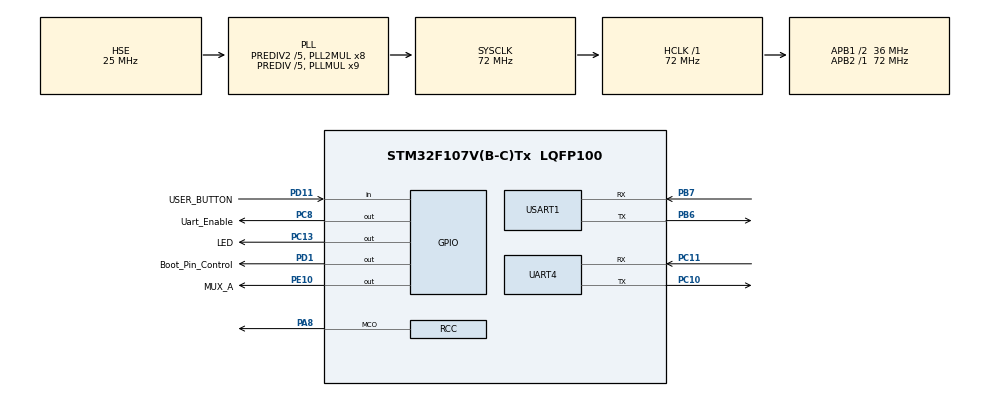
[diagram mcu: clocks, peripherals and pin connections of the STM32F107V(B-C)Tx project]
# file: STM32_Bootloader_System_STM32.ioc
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Mcu.Family=STM32F1
Mcu.Name=STM32F107V(B-C)Tx
Mcu.Package=LQFP100
NVIC.PriorityGroup=NVIC_PRIORITYGROUP_4
NVIC.UART4_IRQn=true\:0\:0\:false\:false\:true\:true\:true\:true
NVIC.USART1_IRQn=true\:0\:0\:false\:false\:true\:true\:true\:true
OSC_IN.Mode=HSE-External-Oscillator
OSC_IN.Signal=RCC_OSC_IN
OSC_OUT.Mode=HSE-External-Oscillator
OSC_OUT.Signal=RCC_OSC_OUT
PA13.Mode=Serial_Wire
PA13.Signal=SYS_JTMS-SWDIO
PA14.Mode=Serial_Wire
PA14.Signal=SYS_JTCK-SWCLK
PA8.GPIO_Speed=GPIO_SPEED_FREQ_MEDIUM
PA8.Mode=Clock-out
PA8.Signal=RCC_MCO
PB6.Mode=Asynchronous
PB6.Signal=USART1_TX
PB7.Mode=Asynchronous
PB7.Signal=USART1_RX
PC10.Mode=Asynchronous
PC10.Signal=UART4_TX
PC11.Mode=Asynchronous
PC11.Signal=UART4_RX
PC13-TAMPER-RTC.GPIO_Label=LED
PC13-TAMPER-RTC.Signal=GPIO_Output
PC8.GPIO_Label=Uart_Enable
PC8.Signal=GPIO_Output
PD1.GPIO_Label=Boot_Pin_Control
PD1.Signal=GPIO_Output
PD11.GPIO_Label=USER_BUTTON
PD11.Signal=GPIO_Input
PE10.GPIO_Label=MUX_A
PE10.Signal=GPIO_Output
ProjectManager.HeapSize=0x200
ProjectManager.StackSize=0x400
ProjectManager.TargetToolchain=STM32CubeIDE
RCC.AHBFreq_Value=72000000
RCC.APB1CLKDivider=RCC_HCLK_DIV2
RCC.APB1Freq_Value=36000000
RCC.APB1TimFreq_Value=72000000
RCC.APB2Freq_Value=72000000
RCC.APB2TimFreq_Value=72000000
RCC.HCLKFreq_Value=72000000
RCC.HSEDivPLL=RCC_HSE_PREDIV_DIV5
RCC.HSE_VALUE=25000000
RCC.PLL3Mul=RCC_PLLI2S_MUL10
RCC.PLLMUL=RCC_PLL_MUL9
RCC.PLLSourceVirtual=RCC_PLLSOURCE_HSE
RCC.Prediv1Source=RCC_PREDIV1_SOURCE_PLL2
RCC.Prediv2=RCC_HSE_PREDIV2_DIV5
RCC.RCC_MCOSource=RCC_MCO1SOURCE_PLL3CLK
RCC.SYSCLKFreq_VALUE=72000000
RCC.SYSCLKSource=RCC_SYSCLKSOURCE_PLLCLK
RCC.USBFreq_Value=48000000
UART4.Parity=PARITY_EVEN
UART4.VirtualMode=Asynchronous
UART4.WordLength=WORDLENGTH_9B
USART1.VirtualMode=VM_ASYNC
board=custom

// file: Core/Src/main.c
/* USER CODE BEGIN Header */
/**
  ******************************************************************************
  * @file           : main.c
  * @brief          : Main program body
  ******************************************************************************
  * @attention
  *
  * Copyright (c) 2024 STMicroelectronics.
  * All rights reserved.
  *
  * This software is licensed under terms that can be found in the LICENSE file
  * in the root directory of this software component.
  * If no LICENSE file comes with this software, it is provided AS-IS.
  *
  ******************************************************************************
  */
/* USER CODE END Header */
#include "main.h"

/* USER CODE BEGIN Includes */
#include "bootloader.h"
#include "stdio.h"
/* USER CODE END Includes */

/* USER CODE BEGIN PD */
#define FLASH_SIZE 256 * 1024
/* USER CODE END PD */

UART_HandleTypeDef huart4;
UART_HandleTypeDef huart1;

/* USER CODE BEGIN PV */
uint8_t RxBuffer[32];
stm32_cmd BootDataCmd;
/* USER CODE END PV */

void SystemClock_Config(void);
static void MX_GPIO_Init(void);
static void MX_UART4_Init(void);
static void MX_USART1_UART_Init(void);
/* USER CODE BEGIN PFP */
void stm32_boot_high(void);
void Boot_Process_Init (void);
/* USER CODE END PFP */

/* USER CODE BEGIN 0 */
int __io_putchar(int ch) {
       HAL_UART_Transmit(&huart1, (uint8_t *)&ch, 1, 100);
       return 0;
}

void stm32_boot_high(void)
{
	HAL_GPIO_WritePin(MUX_A_GPIO_Port, MUX_A_Pin, GPIO_PIN_SET);
	HAL_GPIO_WritePin(Boot_Pin_Control_GPIO_Port, Boot_Pin_Control_Pin, GPIO_PIN_SET);
}
/* USER CODE END 0 */

int main(void)
{

  /* MCU Configuration--------------------------------------------------------*/

  /* Reset of all peripherals, Initializes the Flash interface and the Systick. */
  HAL_Init();

  /* Configure the system clock */
  SystemClock_Config();

  /* Initialize all configured peripherals */
  MX_GPIO_Init();
  MX_UART4_Init();
  MX_USART1_UART_Init();
  /* USER CODE BEGIN 2 */
  if (HAL_GPIO_ReadPin(USER_BUTTON_GPIO_Port, USER_BUTTON_Pin) == GPIO_PIN_SET)
    	{
  	  HAL_GPIO_WritePin(Uart_Enable_GPIO_Port, Uart_Enable_Pin,0);
  	  Boot_Process_Init();
    	}
  /* USER CODE END 2 */

  /* Infinite loop */
  /* USER CODE BEGIN WHILE */
  while (1)
  {
		HAL_GPIO_WritePin(Uart_Enable_GPIO_Port, Uart_Enable_Pin,1);
		HAL_GPIO_TogglePin(LED_GPIO_Port,LED_Pin);
		HAL_Delay(200);
	  /* USER CODE END WHILE */

  }
}

void SystemClock_Config(void)
{
  RCC_OscInitTypeDef RCC_OscInitStruct = {0};
  RCC_ClkInitTypeDef RCC_ClkInitStruct = {0};

  /** Initializes the RCC Oscillators according to the specified parameters
  * in the RCC_OscInitTypeDef structure.
  */
  RCC_OscInitStruct.OscillatorType = RCC_OSCILLATORTYPE_HSE;
  RCC_OscInitStruct.HSEState = RCC_HSE_ON;
  RCC_OscInitStruct.HSEPredivValue = RCC_HSE_PREDIV_DIV5;
  RCC_OscInitStruct.HSIState = RCC_HSI_ON;
  RCC_OscInitStruct.Prediv1Source = RCC_PREDIV1_SOURCE_PLL2;
  RCC_OscInitStruct.PLL.PLLState = RCC_PLL_ON;
  RCC_OscInitStruct.PLL.PLLSource = RCC_PLLSOURCE_HSE;
  RCC_OscInitStruct.PLL.PLLMUL = RCC_PLL_MUL9;
  RCC_OscInitStruct.PLL2.PLL2State = RCC_PLL2_ON;
  RCC_OscInitStruct.PLL2.PLL2MUL = RCC_PLL2_MUL8;
  RCC_OscInitStruct.PLL2.HSEPrediv2Value = RCC_HSE_PREDIV2_DIV5;
  if (HAL_RCC_OscConfig(&RCC_OscInitStruct) != HAL_OK)
  {
    Error_Handler();
  }

  /** Initializes the CPU, AHB and APB buses clocks
  */
  RCC_ClkInitStruct.ClockType = RCC_CLOCKTYPE_HCLK|RCC_CLOCKTYPE_SYSCLK
                              |RCC_CLOCKTYPE_PCLK1|RCC_CLOCKTYPE_PCLK2;
  RCC_ClkInitStruct.SYSCLKSource = RCC_SYSCLKSOURCE_PLLCLK;
  RCC_ClkInitStruct.AHBCLKDivider = RCC_SYSCLK_DIV1;
  RCC_ClkInitStruct.APB1CLKDivider = RCC_HCLK_DIV2;
  RCC_ClkInitStruct.APB2CLKDivider = RCC_HCLK_DIV1;

  if (HAL_RCC_ClockConfig(&RCC_ClkInitStruct, FLASH_LATENCY_2) != HAL_OK)
  {
    Error_Handler();
  }
  HAL_RCC_MCOConfig(RCC_MCO, RCC_MCO1SOURCE_PLL3CLK, RCC_MCODIV_1);

  /** Configure the Systick interrupt time
  */
  __HAL_RCC_HSE_PREDIV2_CONFIG(RCC_HSE_PREDIV2_DIV5);

  /** Configure the Systick interrupt time
  */
  __HAL_RCC_PLLI2S_CONFIG(RCC_PLLI2S_MUL10);

  /** Configure the Systick interrupt time
  */
  __HAL_RCC_PLLI2S_ENABLE();
}

static void MX_UART4_Init(void)
{

  huart4.Instance = UART4;
  huart4.Init.BaudRate = 115200;
  huart4.Init.WordLength = UART_WORDLENGTH_9B;
  huart4.Init.StopBits = UART_STOPBITS_1;
  huart4.Init.Parity = UART_PARITY_EVEN;
  huart4.Init.Mode = UART_MODE_TX_RX;
  huart4.Init.HwFlowCtl = UART_HWCONTROL_NONE;
  huart4.Init.OverSampling = UART_OVERSAMPLING_16;
  if (HAL_UART_Init(&huart4) != HAL_OK)
  {
    Error_Handler();
  }

}

static void MX_USART1_UART_Init(void)
{

  huart1.Instance = USART1;
  huart1.Init.BaudRate = 115200;
  huart1.Init.WordLength = UART_WORDLENGTH_8B;
  huart1.Init.StopBits = UART_STOPBITS_1;
  huart1.Init.Parity = UART_PARITY_NONE;
  huart1.Init.Mode = UART_MODE_TX_RX;
  huart1.Init.HwFlowCtl = UART_HWCONTROL_NONE;
  huart1.Init.OverSampling = UART_OVERSAMPLING_16;
  if (HAL_UART_Init(&huart1) != HAL_OK)
  {
    Error_Handler();
  }

}

static void MX_GPIO_Init(void)
{
  GPIO_InitTypeDef GPIO_InitStruct = {0};

  /* GPIO Ports Clock Enable */
  __HAL_RCC_GPIOC_CLK_ENABLE();
  __HAL_RCC_GPIOE_CLK_ENABLE();
  __HAL_RCC_GPIOD_CLK_ENABLE();
  __HAL_RCC_GPIOA_CLK_ENABLE();
  __HAL_RCC_GPIOB_CLK_ENABLE();

  /*Configure GPIO pin Output Level */
  HAL_GPIO_WritePin(GPIOC, LED_Pin|Uart_Enable_Pin, GPIO_PIN_RESET);

  /*Configure GPIO pin Output Level */
  HAL_GPIO_WritePin(MUX_A_GPIO_Port, MUX_A_Pin, GPIO_PIN_RESET);

  /*Configure GPIO pin Output Level */
  HAL_GPIO_WritePin(Boot_Pin_Control_GPIO_Port, Boot_Pin_Control_Pin, GPIO_PIN_RESET);

  /*Configure GPIO pins : LED_Pin Uart_Enable_Pin */
  GPIO_InitStruct.Pin = LED_Pin|Uart_Enable_Pin;
  GPIO_InitStruct.Mode = GPIO_MODE_OUTPUT_PP;
  GPIO_InitStruct.Pull = GPIO_NOPULL;
  GPIO_InitStruct.Speed = GPIO_SPEED_FREQ_LOW;
  HAL_GPIO_Init(GPIOC, &GPIO_InitStruct);

  /*Configure GPIO pin : MUX_A_Pin */
  GPIO_InitStruct.Pin = MUX_A_Pin;
  GPIO_InitStruct.Mode = GPIO_MODE_OUTPUT_PP;
  GPIO_InitStruct.Pull = GPIO_NOPULL;
  GPIO_InitStruct.Speed = GPIO_SPEED_FREQ_LOW;
  HAL_GPIO_Init(MUX_A_GPIO_Port, &GPIO_InitStruct);

  /*Configure GPIO pin : USER_BUTTON_Pin */
  GPIO_InitStruct.Pin = USER_BUTTON_Pin;
  GPIO_InitStruct.Mode = GPIO_MODE_INPUT;
  GPIO_InitStruct.Pull = GPIO_NOPULL;
  HAL_GPIO_Init(USER_BUTTON_GPIO_Port, &GPIO_InitStruct);

  /*Configure GPIO pin : PA8 */
  GPIO_InitStruct.Pin = GPIO_PIN_8;
  GPIO_InitStruct.Mode = GPIO_MODE_AF_PP;
  GPIO_InitStruct.Speed = GPIO_SPEED_FREQ_MEDIUM;
  HAL_GPIO_Init(GPIOA, &GPIO_InitStruct);

  /*Configure GPIO pin : Boot_Pin_Control_Pin */
  GPIO_InitStruct.Pin = Boot_Pin_Control_Pin;
  GPIO_InitStruct.Mode = GPIO_MODE_OUTPUT_PP;
  GPIO_InitStruct.Pull = GPIO_NOPULL;
  GPIO_InitStruct.Speed = GPIO_SPEED_FREQ_LOW;
  HAL_GPIO_Init(Boot_Pin_Control_GPIO_Port, &GPIO_InitStruct);

}

/* USER CODE BEGIN 4 */

/* Application Function */
void Boot_Process_Init (void)
{
	uint32_t scan = 0xFFFFFFFF, counter = 0;
	uint32_t SIZE=0;
	//uint16_t flash_size_kb = *(const uint16_t*)FLASHSIZE_BASE;

	printf("***System Boot demo***\r\n");

	/* Synchronize with target bootloader ###################################### */
	stm32_init(&huart4,&BootDataCmd);
	stm32_read_memory(&huart4, TARGET_OPB_START_ADDRESS, RxBuffer, 32);
	stm32_erase_memory(&huart4,EMEM_COMMAND,1,0xFF);

	/* Verifies when scan variable achieved last data of the Image to be programmed */
	while (scan == 0xFFFFFFFF)
	{
		counter++;
		scan = *(uint32_t*)(FLASH_SIZE - (4*counter));
	}

	/* SIZE: Size of the image to be Programmed
	 * FLASH_SIZE: Host total flash size
	 * IMAGE_ADDRESS: Start address of the image to be Programmed
	 * FLASH_BASE:Host Flash start address
	 * (4*(Counter-1)): Represents the amount of FLASH to achieve the final data of the Image to be programmed
	 */
	SIZE = (FLASH_SIZE - (IMAGE_ADDRESS - FLASH_BASE) - ((counter)*4));

	/* Writes up to 256Bytes of memory, it can be from FLASH or RAM */
	for(uint16_t i = 0; i < SIZE; i+=256)
	{
		stm32_write_memory(&huart4, (TARGET_FLASH_START_ADDRESS+i), ((uint8_t*)IMAGE_ADDRESS+i), 256);
	}

	/* Reads up to 256Bytes of memory, it can be from FLASH or RAM */
	stm32_read_memory(&huart4, TARGET_FLASH_START_ADDRESS, RxBuffer, 32);

	stm32_go(&huart4, TARGET_FLASH_START_ADDRESS);

}

/* USER CODE END 4 */

void Error_Handler(void)
{
  __disable_irq();
  while (1)
  {
  }
}
